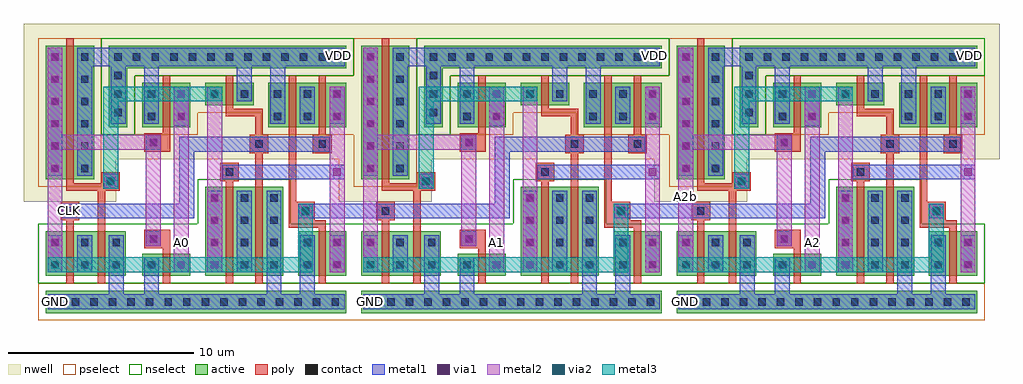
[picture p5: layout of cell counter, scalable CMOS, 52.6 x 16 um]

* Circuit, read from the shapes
.subckt counter A0 A1 A2 A2b CLK GND VDD
M1 n1 CLK n2 GND nfet w=2.4u l=0.4u
M2 GND n3 n1 GND nfet w=2.4u l=0.4u
M3 A0 n2 GND GND nfet w=1.2u l=0.4u
M4 n4 n5 n3 GND nfet w=4.8u l=0.4u
M5 GND CLK n4 GND nfet w=4.8u l=0.4u
M6 n5 n2 GND GND nfet w=2.4u l=0.4u
M7 n6 n2 n7 GND nfet w=2.4u l=0.4u
M8 GND n8 n6 GND nfet w=2.4u l=0.4u
M9 A1 n7 GND GND nfet w=1.2u l=0.4u
M10 n9 n10 n8 GND nfet w=4.8u l=0.4u
M11 GND n2 n9 GND nfet w=4.8u l=0.4u
M12 n10 n7 GND GND nfet w=2.4u l=0.4u
M13 n11 n7 A2b GND nfet w=2.4u l=0.4u
M14 GND n12 n11 GND nfet w=2.4u l=0.4u
M15 A2 A2b GND GND nfet w=1.2u l=0.4u
M16 n13 n14 n12 GND nfet w=4.8u l=0.4u
M17 GND n7 n13 GND nfet w=4.8u l=0.4u
M18 n14 A2b GND GND nfet w=2.4u l=0.4u
M19 VDD n3 n2 VDD pfet w=7.2u l=0.4u
M20 A0 n2 VDD VDD pfet w=2.4u l=0.4u
M21 VDD CLK n3 VDD pfet w=1.2u l=0.4u
M22 n15 n2 VDD VDD pfet w=2.4u l=0.4u
M23 n5 CLK n15 VDD pfet w=2.4u l=0.4u
M24 VDD n8 n7 VDD pfet w=7.2u l=0.4u
M25 A1 n7 VDD VDD pfet w=2.4u l=0.4u
M26 VDD n2 n8 VDD pfet w=1.2u l=0.4u
M27 n16 n7 VDD VDD pfet w=2.4u l=0.4u
M28 n10 n2 n16 VDD pfet w=2.4u l=0.4u
M29 VDD n12 A2b VDD pfet w=7.2u l=0.4u
M30 A2 A2b VDD VDD pfet w=2.4u l=0.4u
M31 VDD n7 n12 VDD pfet w=1.2u l=0.4u
M32 n17 A2b VDD VDD pfet w=2.4u l=0.4u
M33 n14 n7 n17 VDD pfet w=2.4u l=0.4u
.ends

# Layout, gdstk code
import gdstk
lib = gdstk.Library(unit=1e-6, precision=1e-09)
def R(c, l, rs):  # rectangles x0, y0, x1, y1
    for r in rs: c.add(gdstk.rectangle(r[:2], r[2:], *l))
def A(c, l, x, y, w, h, nx, ny, dx, dy):  # array of equal rectangles
    R(c, l, [(x+i*dx, y+j*dy, x+i*dx+w, y+j*dy+h) for i in range(nx) for j in range(ny)])
contact = (25, 0)
nwell = (42, 0)
active = (43, 0)
pselect = (44, 0)
nselect = (45, 0)
poly = (46, 0)
metal1 = (49, 0)
via1 = (50, 0)
metal2 = (51, 0)
via2 = (61, 0)
metal3 = (62, 0)

counter = lib.new_cell('counter')
A(counter, contact, -19, -6, 0.4, 0.4, 3, 1, 1, 0)
A(counter, contact, -6, -6, 0.4, 0.4, 3, 1, 1, 0)
A(counter, contact, -2, -6, 0.4, 0.4, 3, 1, 1, 0)
A(counter, contact, 11, -6, 0.4, 0.4, 3, 1, 1, 0)
A(counter, contact, 15, -6, 0.4, 0.4, 3, 1, 1, 0)
A(counter, contact, 28, -6, 0.4, 0.4, 3, 1, 1, 0)
A(counter, contact, -10.5, -4, 0.4, 0.4, 1, 4, 0, 1.2)
A(counter, contact, -7.3, -4, 0.4, 0.4, 1, 3, 0, 1.2)
A(counter, contact, 6.5, -4, 0.4, 0.4, 1, 4, 0, 1.2)
A(counter, contact, 9.7, -4, 0.4, 0.4, 1, 3, 0, 1.2)
A(counter, contact, 23.5, -4, 0.4, 0.4, 1, 4, 0, 1.2)
A(counter, contact, 26.7, -4, 0.4, 0.4, 1, 3, 0, 1.2)
A(counter, contact, -13.8, -2.6, 0.4, 0.4, 3, 2, 17, 5.2)
A(counter, contact, -16.1, 0.5, 0.4, 0.4, 3, 1, 17, 0)
A(counter, contact, -9.7, 1, 0.4, 0.4, 3, 1, 17, 0)
A(counter, contact, -19.1, 1.2, 0.4, 0.4, 1, 6, 0, 1.2)
A(counter, contact, -17.5, 1.2, 0.4, 0.4, 1, 6, 0, 1.2)
A(counter, contact, -2.1, 1.2, 0.4, 0.4, 1, 6, 0, 1.2)
A(counter, contact, -0.5, 1.2, 0.4, 0.4, 1, 6, 0, 1.2)
A(counter, contact, 14.9, 1.2, 0.4, 0.4, 1, 6, 0, 1.2)
A(counter, contact, 16.5, 1.2, 0.4, 0.4, 1, 6, 0, 1.2)
A(counter, contact, -15.7, 4.2, 0.4, 0.4, 3, 2, 17, 2)
A(counter, contact, -15.7, 7.2, 0.4, 0.4, 12, 1, 1, 0)
A(counter, contact, 1.3, 7.2, 0.4, 0.4, 12, 1, 1, 0)
A(counter, contact, 18.3, 7.2, 0.4, 0.4, 12, 1, 1, 0)
R(counter, contact, [(-17,-6,-16.6,-5.6), (-16,-6,-15.6,-5.6), (-16,-6,-15.6,-5.6), (-15,-6,-14.6,-5.6), (-15,-6,-14.6,-5.6), (-14,-6,-13.6,-5.6), (-14,-6,-13.6,-5.6), (-13,-6,-12.6,-5.6), (-13,-6,-12.6,-5.6), (-12,-6,-11.6,-5.6), (-12,-6,-11.6,-5.6), (-11,-6,-10.6,-5.6), (-11,-6,-10.6,-5.6), (-10,-6,-9.6,-5.6), (-10,-6,-9.6,-5.6), (-9,-6,-8.6,-5.6), (-9,-6,-8.6,-5.6), (-8,-6,-7.6,-5.6), (-8,-6,-7.6,-5.6), (-7,-6,-6.6,-5.6), (-7,-6,-6.6,-5.6), (-6,-6,-5.6,-5.6), (0,-6,0.4,-5.6), (1,-6,1.4,-5.6), (1,-6,1.4,-5.6), (2,-6,2.4,-5.6), (2,-6,2.4,-5.6), (3,-6,3.4,-5.6), (3,-6,3.4,-5.6), (4,-6,4.4,-5.6), (4,-6,4.4,-5.6), (5,-6,5.4,-5.6), (5,-6,5.4,-5.6), (6,-6,6.4,-5.6), (6,-6,6.4,-5.6), (7,-6,7.4,-5.6), (7,-6,7.4,-5.6), (8,-6,8.4,-5.6), (8,-6,8.4,-5.6), (9,-6,9.4,-5.6), (9,-6,9.4,-5.6), (10,-6,10.4,-5.6), (10,-6,10.4,-5.6), (11,-6,11.4,-5.6), (17,-6,17.4,-5.6), (18,-6,18.4,-5.6), (18,-6,18.4,-5.6), (19,-6,19.4,-5.6), (19,-6,19.4,-5.6), (20,-6,20.4,-5.6), (20,-6,20.4,-5.6), (21,-6,21.4,-5.6), (21,-6,21.4,-5.6), (22,-6,22.4,-5.6), (22,-6,22.4,-5.6), (23,-6,23.4,-5.6), (23,-6,23.4,-5.6), (24,-6,24.4,-5.6), (24,-6,24.4,-5.6), (25,-6,25.4,-5.6), (25,-6,25.4,-5.6), (26,-6,26.4,-5.6), (26,-6,26.4,-5.6), (27,-6,27.4,-5.6), (27,-6,27.4,-5.6), (28,-6,28.4,-5.6), (-19.1,-4,-18.7,-3.6), (-17.5,-4,-17.1,-3.6), (-17.5,-4,-17.1,-3.6), (-15.8,-4,-15.4,-3.6), (-15.8,-4,-15.4,-3.6), (-13.9,-4,-13.5,-3.6), (-12.3,-4,-11.9,-3.6), (-8.9,-4,-8.5,-3.6), (-8.9,-4,-8.5,-3.6), (-7.3,-4,-6.9,-3.6), (-5.5,-4,-5.1,-3.6), (-3.9,-4,-3.5,-3.6), (-2.1,-4,-1.7,-3.6), (-0.5,-4,-0.1,-3.6), (-0.5,-4,-0.1,-3.6), (1.2,-4,1.6,-3.6), (1.2,-4,1.6,-3.6), (3.1,-4,3.5,-3.6), (4.7,-4,5.1,-3.6), (8.1,-4,8.5,-3.6), (8.1,-4,8.5,-3.6), (9.7,-4,10.1,-3.6), (11.5,-4,11.9,-3.6), (13.1,-4,13.5,-3.6), (14.9,-4,15.3,-3.6), (16.5,-4,16.9,-3.6), (16.5,-4,16.9,-3.6), (18.2,-4,18.6,-3.6), (18.2,-4,18.6,-3.6), (20.1,-4,20.5,-3.6), (21.7,-4,22.1,-3.6), (25.1,-4,25.5,-3.6), (25.1,-4,25.5,-3.6), (26.7,-4,27.1,-3.6), (28.5,-4,28.9,-3.6), (30.1,-4,30.5,-3.6), (-19.1,-2.8,-18.7,-2.4), (-17.5,-2.8,-17.1,-2.4), (-17.5,-2.8,-17.1,-2.4), (-15.8,-2.8,-15.4,-2.4), (-8.9,-2.8,-8.5,-2.4), (-8.9,-2.8,-8.5,-2.4), (-5.5,-2.8,-5.1,-2.4), (-3.9,-2.8,-3.5,-2.4), (-2.1,-2.8,-1.7,-2.4), (-0.5,-2.8,-0.1,-2.4), (-0.5,-2.8,-0.1,-2.4), (1.2,-2.8,1.6,-2.4), (8.1,-2.8,8.5,-2.4), (8.1,-2.8,8.5,-2.4), (11.5,-2.8,11.9,-2.4), (13.1,-2.8,13.5,-2.4), (14.9,-2.8,15.3,-2.4), (16.5,-2.8,16.9,-2.4), (16.5,-2.8,16.9,-2.4), (18.2,-2.8,18.6,-2.4), (25.1,-2.8,25.5,-2.4), (25.1,-2.8,25.5,-2.4), (28.5,-2.8,28.9,-2.4), (30.1,-2.8,30.5,-2.4), (-8.9,-1.6,-8.5,-1.2), (-8.9,-1.6,-8.5,-1.2), (-7.3,-1.6,-6.9,-1.2), (8.1,-1.6,8.5,-1.2), (8.1,-1.6,8.5,-1.2), (9.7,-1.6,10.1,-1.2), (25.1,-1.6,25.5,-1.2), (25.1,-1.6,25.5,-1.2), (26.7,-1.6,27.1,-1.2), (-18.3,-1.1,-17.9,-0.7), (-5.6,-1.1,-5.2,-0.7), (-1.3,-1.1,-0.9,-0.7), (11.4,-1.1,11.8,-0.7), (15.7,-1.1,16.1,-0.7), (28.4,-1.1,28.8,-0.7), (-8.9,-0.4,-8.5,0), (-8.9,-0.4,-8.5,0), (-7.3,-0.4,-6.9,0), (8.1,-0.4,8.5,0), (8.1,-0.4,8.5,0), (9.7,-0.4,10.1,0), (25.1,-0.4,25.5,0), (25.1,-0.4,25.5,0), (26.7,-0.4,27.1,0), (-8.1,2.5,-7.7,2.9), (-4.7,2.5,-4.3,2.9), (8.9,2.5,9.3,2.9), (12.3,2.5,12.7,2.9), (25.9,2.5,26.3,2.9), (29.3,2.5,29.7,2.9), (-13.9,4,-13.5,4.4), (-12.3,4,-11.9,4.4), (-7.1,4,-6.7,4.4), (-5.5,4,-5.1,4.4), (-5.5,4,-5.1,4.4), (-3.9,4,-3.5,4.4), (3.1,4,3.5,4.4), (4.7,4,5.1,4.4), (9.9,4,10.3,4.4), (11.5,4,11.9,4.4), (11.5,4,11.9,4.4), (13.1,4,13.5,4.4), (20.1,4,20.5,4.4), (21.7,4,22.1,4.4), (26.9,4,27.3,4.4), (28.5,4,28.9,4.4), (28.5,4,28.9,4.4), (30.1,4,30.5,4.4), (-15.7,5.2,-15.3,5.6), (-13.9,5.2,-13.5,5.6), (-12.3,5.2,-11.9,5.6), (-10.5,5.2,-10.1,5.6), (-8.9,5.2,-8.5,5.6), (-7.1,5.2,-6.7,5.6), (-7.1,5.2,-6.7,5.6), (-5.5,5.2,-5.1,5.6), (-5.5,5.2,-5.1,5.6), (-3.9,5.2,-3.5,5.6), (1.3,5.2,1.7,5.6), (3.1,5.2,3.5,5.6), (4.7,5.2,5.1,5.6), (6.5,5.2,6.9,5.6), (8.1,5.2,8.5,5.6), (9.9,5.2,10.3,5.6), (9.9,5.2,10.3,5.6), (11.5,5.2,11.9,5.6), (11.5,5.2,11.9,5.6), (13.1,5.2,13.5,5.6), (18.3,5.2,18.7,5.6), (20.1,5.2,20.5,5.6), (21.7,5.2,22.1,5.6), (23.5,5.2,23.9,5.6), (25.1,5.2,25.5,5.6), (26.9,5.2,27.3,5.6), (26.9,5.2,27.3,5.6), (28.5,5.2,28.9,5.6), (28.5,5.2,28.9,5.6), (30.1,5.2,30.5,5.6)])
A(counter, nwell, -20.6, -0.4, 5, 9.6, 3, 1, 17, 0)
A(counter, nwell, -20.6, 1.9, 18.6, 7.3, 3, 1, 17, 0)
A(counter, active, -17.7, -6.4, 14.5, 1.2, 3, 1, 17, 0)
A(counter, active, -9.2, -6.4, 2.6, 1.2, 3, 2, 3.4, 2)
A(counter, active, 7.8, -6.4, 2.6, 1.2, 3, 2, 3.4, 2)
A(counter, active, -10.8, -4.4, 2.6, 1.2, 1, 4, 0, 1.2)
A(counter, active, 6.2, -4.4, 2.6, 1.2, 1, 4, 0, 1.2)
A(counter, active, 23.2, -4.4, 2.6, 1.2, 1, 4, 0, 1.2)
A(counter, active, 24.8, -4.4, 2.6, 1.2, 1, 4, 0, 1.2)
A(counter, active, -9.2, -3.2, 2.6, 1.2, 3, 1, 3.4, 0)
A(counter, active, 7.8, -3.2, 2.6, 1.2, 3, 1, 3.4, 0)
A(counter, active, -19.4, 0.8, 2.6, 2.4, 3, 3, 17, 2.4)
A(counter, active, -16, 3.6, 1, 4.4, 3, 1, 17, 0)
A(counter, active, -10.8, 4.8, 2.6, 1.2, 3, 1, 17, 0)
A(counter, active, -15, 6.8, 11.8, 1.2, 3, 1, 17, 0)
R(counter, active, [(-19.4,-6.4,-16.8,-5.2), (-14.2,-6.4,-11.6,-5.2), (-10.8,-6.4,-8.2,-5.2), (2.8,-6.4,5.4,-5.2), (6.2,-6.4,8.8,-5.2), (19.8,-6.4,22.4,-5.2), (23.2,-6.4,25.8,-5.2), (24.8,-6.4,27.4,-5.2), (28.2,-6.4,30.8,-5.2), (-19.4,-4.4,-16.8,-3.2), (-17.7,-4.4,-15.1,-3.2), (-14.2,-4.4,-11.6,-3.2), (-0.7,-4.4,1.9,-3.2), (2.8,-4.4,5.4,-3.2), (16.3,-4.4,18.9,-3.2), (19.8,-4.4,22.4,-3.2), (28.2,-4.4,30.8,-3.2), (-19.4,-3.2,-16.8,-2), (-17.7,-3.2,-15.1,-2), (-0.7,-3.2,1.9,-2), (16.3,-3.2,18.9,-2), (28.2,-3.2,30.8,-2), (-9.2,-2,-6.6,-0.8), (7.8,-2,10.4,-0.8), (-9.2,-0.8,-6.6,0.4), (7.8,-0.8,10.4,0.4), (-14.2,3.6,-11.6,6), (-7.4,3.6,-4.8,6), (-5.8,3.6,-3.2,6), (2.8,3.6,5.4,6), (9.6,3.6,12.2,6), (11.2,3.6,13.8,6), (19.8,3.6,22.4,6), (26.6,3.6,29.2,6), (28.2,3.6,30.8,6), (-10.8,6.8,-8.2,8), (-7.4,6.8,-4.8,8), (-5.8,6.8,-3.2,8), (6.2,6.8,8.8,8), (9.6,6.8,12.2,8), (11.2,6.8,13.8,8), (23.2,6.8,25.8,8), (26.6,6.8,29.2,8), (28.2,6.8,30.8,8)])
A(counter, pselect, -19.8, -6.8, 3.6, 2, 3, 1, 17, 0)
A(counter, pselect, -18, -6.8, 3.4, 2, 4, 1, 3.4, 0)
A(counter, pselect, -1, -6.8, 3.4, 2, 4, 1, 3.4, 0)
A(counter, pselect, 16, -6.8, 3.4, 2, 4, 1, 3.4, 0)
A(counter, pselect, -19.8, 0.4, 3.4, 8, 3, 1, 17, 0)
A(counter, pselect, -7.8, 3.2, 1.6, 3.2, 3, 1, 17, 0)
A(counter, pselect, -11.2, 4.4, 3.4, 2, 3, 1, 17, 0)
R(counter, pselect, [(-6.2,-6.8,-2.8,-4.8), (10.8,-6.8,14.2,-4.8), (27.8,-6.8,31.2,-4.8), (-14.6,3.2,-11.2,6.4), (-6.2,3.2,-2.8,6.4), (2.4,3.2,5.8,6.4), (10.8,3.2,14.2,6.4), (19.4,3.2,22.8,6.4), (27.8,3.2,31.2,6.4)])
A(counter, nselect, -18.1, -4.8, 3.5, 3.2, 3, 1, 17, 0)
A(counter, nselect, -7.8, -4.8, 5, 3.2, 3, 1, 17, 0)
A(counter, nselect, -6.2, -4.8, 3.4, 2, 3, 1, 17, 0)
A(counter, nselect, -11.2, -1.6, 5, 2.4, 3, 1, 17, 0)
A(counter, nselect, -16.4, 3.2, 1.8, 5.2, 3, 1, 17, 0)
R(counter, nselect, [(-19.8,-4.8,-16.4,-1.6), (-14.6,-4.8,-11.2,-1.6), (-11.2,-4.8,-7.8,-1.6), (-2.8,-4.8,0.6,-1.6), (2.4,-4.8,5.8,-1.6), (5.8,-4.8,9.2,-1.6), (14.2,-4.8,17.6,-1.6), (19.4,-4.8,22.8,-1.6), (22.8,-4.8,26.2,-1.6), (-14.6,6.4,-11.2,8.4), (-11.2,6.4,-7.8,8.4), (-9.6,6.4,-6.2,8.4), (-6.2,6.4,-2.8,8.4), (2.4,6.4,5.8,8.4), (5.8,6.4,9.2,8.4), (7.4,6.4,10.8,8.4), (10.8,6.4,14.2,8.4), (19.4,6.4,22.8,8.4), (22.8,6.4,26.2,8.4), (24.4,6.4,27.8,8.4), (27.8,6.4,31.2,8.4)])
A(counter, poly, -18.3, -4.8, 0.4, 3.4, 3, 1, 17, 0)
A(counter, poly, -16.6, -4.8, 0.4, 5, 3, 1, 17, 0)
A(counter, poly, -13.1, -4.8, 0.4, 1.5, 3, 1, 17, 0)
A(counter, poly, -9.7, -4.8, 0.4, 5.5, 3, 1, 17, 0)
A(counter, poly, -8.1, -4.8, 0.4, 7, 3, 1, 17, 0)
A(counter, poly, -4.7, -4.8, 0.4, 3.3, 3, 1, 17, 0)
A(counter, poly, -13.1, -3.3, 0.4, 1.4, 3, 1, 17, 0)
A(counter, poly, -14.1, -2.9, 1, 1, 3, 2, 17, 5.2)
A(counter, poly, -6.3, -1.8, 2, 0.4, 3, 1, 17, 0)
A(counter, poly, -6.3, -1.5, 0.4, 7.9, 3, 1, 17, 0)
A(counter, poly, -18.3, 0.2, 2.1, 0.4, 3, 1, 17, 0)
A(counter, poly, -18.3, 0.2, 0.4, 8.2, 3, 1, 17, 0)
A(counter, poly, -16.4, 0.2, 1, 1, 3, 1, 17, 0)
A(counter, poly, -10, 0.7, 1, 1, 3, 1, 17, 0)
A(counter, poly, -13.1, 2.3, 0.4, 1, 3, 1, 17, 0)
A(counter, poly, -8.1, 3.2, 0.4, 1.4, 3, 1, 17, 0)
A(counter, poly, -9.7, 4.2, 2, 0.4, 3, 1, 17, 0)
A(counter, poly, -9.7, 4.3, 0.4, 2.1, 3, 1, 17, 0)
R(counter, poly, [(-18.6,-1.4,-17.6,-0.4), (-5.9,-1.4,-4.9,-0.4), (-1.6,-1.4,-0.6,-0.4), (11.1,-1.4,12.1,-0.4), (15.4,-1.4,16.4,-0.4), (28.1,-1.4,29.1,-0.4), (-8.4,2.2,-7.4,3.2), (-5,2.2,-4,3.2), (8.6,2.2,9.6,3.2), (12,2.2,13,3.2), (25.6,2.2,26.6,3.2), (29,2.2,30,3.2), (-13.1,3.2,-12.7,6.4), (-4.7,3.2,-4.3,6.4), (3.9,3.2,4.3,6.4), (12.3,3.2,12.7,6.4), (20.9,3.2,21.3,6.4), (29.3,3.2,29.7,6.4)])
A(counter, metal1, -19.3, -6.2, 16, 0.8, 3, 1, 17, 0)
A(counter, metal1, -14.1, -6.2, 0.8, 2.8, 3, 1, 17, 0)
A(counter, metal1, -7.5, -6.2, 0.8, 6.4, 3, 1, 17, 0)
A(counter, metal1, -12.5, -4.2, 0.8, 0.8, 3, 1, 17, 0)
A(counter, metal1, -14, -2.8, 0.8, 0.8, 3, 2, 17, 5.2)
A(counter, metal1, -9.1, -2.3, 0.8, 2.5, 3, 1, 17, 0)
A(counter, metal1, -10.7, -2.2, 0.8, 2.4, 3, 1, 17, 0)
A(counter, metal1, -12.2, -1.3, 0.8, 3.8, 3, 1, 17, 0)
A(counter, metal1, -5.8, -1.3, 0.8, 0.8, 3, 1, 17, 0)
A(counter, metal1, -16.3, 0.3, 0.8, 0.8, 3, 1, 17, 0)
A(counter, metal1, -9.9, 0.8, 6.6, 0.8, 3, 1, 17, 0)
A(counter, metal1, -19.3, 1, 0.8, 6.9, 3, 1, 17, 0)
A(counter, metal1, -17.7, 1, 0.8, 6.8, 3, 1, 17, 0)
A(counter, metal1, -12.2, 2.3, 8.1, 0.8, 3, 1, 17, 0)
A(counter, metal1, -12.5, 3.7, 0.8, 2.1, 3, 1, 17, 0)
A(counter, metal1, -10.7, 5, 0.8, 0.8, 3, 1, 17, 0)
A(counter, metal1, -9.1, 5, 0.8, 2.8, 3, 1, 17, 0)
A(counter, metal1, -17.7, 6.9, 14.4, 1, 3, 1, 17, 0)
R(counter, metal1, [(-17.6,-6.2,-15.2,-5.4), (-16,-6.2,-15.2,-2.2), (-14.1,-6.2,-11.7,-5.4), (-10.7,-6.2,-8.3,-5.4), (-9.1,-6.2,-6.7,-5.4), (-5.7,-6.2,-4.9,-2.2), (-5.7,-6.2,-3.3,-5.4), (-0.6,-6.2,1.8,-5.4), (1,-6.2,1.8,-2.2), (2.9,-6.2,5.3,-5.4), (6.3,-6.2,8.7,-5.4), (7.9,-6.2,10.3,-5.4), (11.3,-6.2,12.1,-2.2), (11.3,-6.2,13.7,-5.4), (16.4,-6.2,18.8,-5.4), (18,-6.2,18.8,-2.2), (19.9,-6.2,22.3,-5.4), (23.3,-6.2,25.7,-5.4), (24.9,-6.2,27.3,-5.4), (28.3,-6.2,29.1,-2.2), (28.3,-6.2,30.7,-5.4), (-19.3,-4.2,-18.5,-2.2), (-17.7,-4.2,-16.9,-2.2), (-10.7,-4.2,-9.9,-2.2), (-9.1,-4.2,-8.3,-2.2), (-4.1,-4.2,-3.3,-2.2), (-2.3,-4.2,-1.5,-2.2), (-0.7,-4.2,0.1,-2.2), (6.3,-4.2,7.1,-2.2), (7.9,-4.2,8.7,-2.2), (12.9,-4.2,13.7,-2.2), (14.7,-4.2,15.5,-2.2), (16.3,-4.2,17.1,-2.2), (23.3,-4.2,24.1,-2.2), (24.9,-4.2,25.7,-2.2), (29.9,-4.2,30.7,-2.2), (-18.5,-1.3,-11.4,-0.5), (-5.8,-1.3,5.6,-0.5), (11.2,-1.3,22.6,-0.5), (-15.9,3.8,-15.1,7.8), (-14.1,3.8,-13.3,7.8), (-7.3,3.8,-6.5,7.8), (-5.7,3.8,-4.9,5.8), (-4.1,3.8,-3.3,5.8), (1.1,3.8,1.9,7.8), (2.9,3.8,3.7,7.8), (9.7,3.8,10.5,7.8), (11.3,3.8,12.1,5.8), (12.9,3.8,13.7,5.8), (18.1,3.8,18.9,7.8), (19.9,3.8,20.7,7.8), (26.7,3.8,27.5,7.8), (28.3,3.8,29.1,5.8), (29.9,3.8,30.7,5.8), (-10.7,6.9,-8.3,7.9), (-7.3,6.9,-4.9,7.9), (-5.7,6.9,-3.3,7.9), (6.3,6.9,8.7,7.9), (9.7,6.9,12.1,7.9), (11.3,6.9,13.7,7.9), (23.3,6.9,25.7,7.9), (26.7,6.9,29.1,7.9), (28.3,6.9,30.7,7.9)])
A(counter, via1, -10.5, -1.6, 0.4, 0.4, 3, 2, 17, 1.2)
A(counter, via1, -5.6, -1.1, 0.4, 0.4, 3, 1, 17, 0)
A(counter, via1, -16.1, 0.5, 0.4, 0.4, 3, 1, 17, 0)
A(counter, via1, -3.9, 1, 0.4, 0.4, 3, 1, 17, 0)
A(counter, via1, -19.1, 1.2, 0.4, 0.4, 3, 2, 17, 1.2)
A(counter, via1, -19.1, 6, 0.4, 0.4, 3, 2, 17, 1.2)
R(counter, via1, [(-19.1,-4,-18.7,-3.6), (-19.1,-4,-18.7,-3.6), (-12.3,-4,-11.9,-3.6), (-10.5,-4,-10.1,-3.6), (-3.9,-4,-3.5,-3.6), (-2.1,-4,-1.7,-3.6), (-2.1,-4,-1.7,-3.6), (4.7,-4,5.1,-3.6), (6.5,-4,6.9,-3.6), (13.1,-4,13.5,-3.6), (14.9,-4,15.3,-3.6), (14.9,-4,15.3,-3.6), (21.7,-4,22.1,-3.6), (23.5,-4,23.9,-3.6), (30.1,-4,30.5,-3.6), (-19.1,-2.8,-18.7,-2.4), (-10.5,-2.8,-10.1,-2.4), (-3.9,-2.8,-3.5,-2.4), (-2.1,-2.8,-1.7,-2.4), (6.5,-2.8,6.9,-2.4), (13.1,-2.8,13.5,-2.4), (14.9,-2.8,15.3,-2.4), (23.5,-2.8,23.9,-2.4), (30.1,-2.8,30.5,-2.4), (-13.8,-2.6,-13.4,-2.2), (-13.8,-2.6,-13.4,-2.2), (-13.8,-2.6,-13.4,-2.2), (3.2,-2.6,3.6,-2.2), (3.2,-2.6,3.6,-2.2), (3.2,-2.6,3.6,-2.2), (20.2,-2.6,20.6,-2.2), (20.2,-2.6,20.6,-2.2), (20.2,-2.6,20.6,-2.2), (-13.8,2.6,-13.4,3), (-13.8,2.6,-13.4,3), (3.2,2.6,3.6,3), (3.2,2.6,3.6,3), (20.2,2.6,20.6,3), (20.2,2.6,20.6,3), (-19.1,3.6,-18.7,4), (-19.1,3.6,-18.7,4), (-2.1,3.6,-1.7,4), (-2.1,3.6,-1.7,4), (14.9,3.6,15.3,4), (14.9,3.6,15.3,4), (-12.3,4,-11.9,4.4), (-3.9,4,-3.5,4.4), (4.7,4,5.1,4.4), (13.1,4,13.5,4.4), (21.7,4,22.1,4.4), (30.1,4,30.5,4.4), (-19.1,4.8,-18.7,5.2), (-19.1,4.8,-18.7,5.2), (-2.1,4.8,-1.7,5.2), (-2.1,4.8,-1.7,5.2), (14.9,4.8,15.3,5.2), (14.9,4.8,15.3,5.2), (-12.3,5.2,-11.9,5.6), (-10.5,5.2,-10.1,5.6), (-3.9,5.2,-3.5,5.6), (4.7,5.2,5.1,5.6), (6.5,5.2,6.9,5.6), (13.1,5.2,13.5,5.6), (21.7,5.2,22.1,5.6), (23.5,5.2,23.9,5.6), (30.1,5.2,30.5,5.6)])
A(counter, metal2, -19.3, -4.2, 0.8, 12.1, 3, 1, 17, 0)
A(counter, metal2, -4.1, -4.2, 0.8, 2, 3, 2, 17, 8)
A(counter, metal2, -14, -2.8, 0.8, 6, 3, 1, 17, 0)
A(counter, metal2, -5.8, -1.3, 0.8, 0.8, 3, 1, 17, 0)
A(counter, metal2, -16.3, 0.3, 0.8, 0.8, 3, 1, 17, 0)
A(counter, metal2, -19.3, 2.4, 6.1, 0.8, 3, 1, 17, 0)
R(counter, metal2, [(-12.5,-4.2,-11.7,5.8), (-10.7,-4.2,-9.9,5.8), (-4.1,-4.2,-3.3,5.8), (4.5,-4.2,5.3,5.8), (6.3,-4.2,7.1,5.8), (12.9,-4.2,13.7,5.8), (21.5,-4.2,22.3,5.8), (23.3,-4.2,24.1,5.8), (29.9,-4.2,30.7,5.8)])
A(counter, via2, -19.1, -4, 0.4, 0.4, 3, 1, 17, 0)
A(counter, via2, -5.6, -1.1, 0.4, 0.4, 3, 1, 17, 0)
A(counter, via2, -16.1, 0.5, 0.4, 0.4, 3, 1, 17, 0)
A(counter, via2, -10.5, 5.2, 0.4, 0.4, 3, 1, 17, 0)
A(counter, metal3, -19.3, -4.2, 14.3, 0.8, 3, 1, 17, 0)
A(counter, metal3, -5.8, -4.2, 0.8, 3.7, 3, 1, 17, 0)
A(counter, metal3, -16.3, 0.3, 0.8, 5.5, 3, 1, 17, 0)
A(counter, metal3, -16.3, 5, 6.4, 0.8, 3, 1, 17, 0)
counter.add(gdstk.Label('VDD', (30.4,7.5), layer=75, texttype=0))
counter.add(gdstk.Label('GND', (15.1,-5.8), layer=75, texttype=0))
counter.add(gdstk.Label('VDD', (13.4,7.5), layer=75, texttype=0))
counter.add(gdstk.Label('GND', (-1.9,-5.8), layer=75, texttype=0))
counter.add(gdstk.Label('CLK', (-18.1,-0.9), layer=75, texttype=0))
counter.add(gdstk.Label('VDD', (-3.6,7.5), layer=75, texttype=0))
counter.add(gdstk.Label('GND', (-18.9,-5.8), layer=75, texttype=0))
counter.add(gdstk.Label('A2b', (15.1,-0.1), layer=76, texttype=0))
counter.add(gdstk.Label('A2', (21.9,-2.6), layer=76, texttype=0))
counter.add(gdstk.Label('A1', (4.9,-2.6), layer=76, texttype=0))
counter.add(gdstk.Label('A0', (-12.1,-2.6), layer=76, texttype=0))

lib.write_gds('counter.gds')
